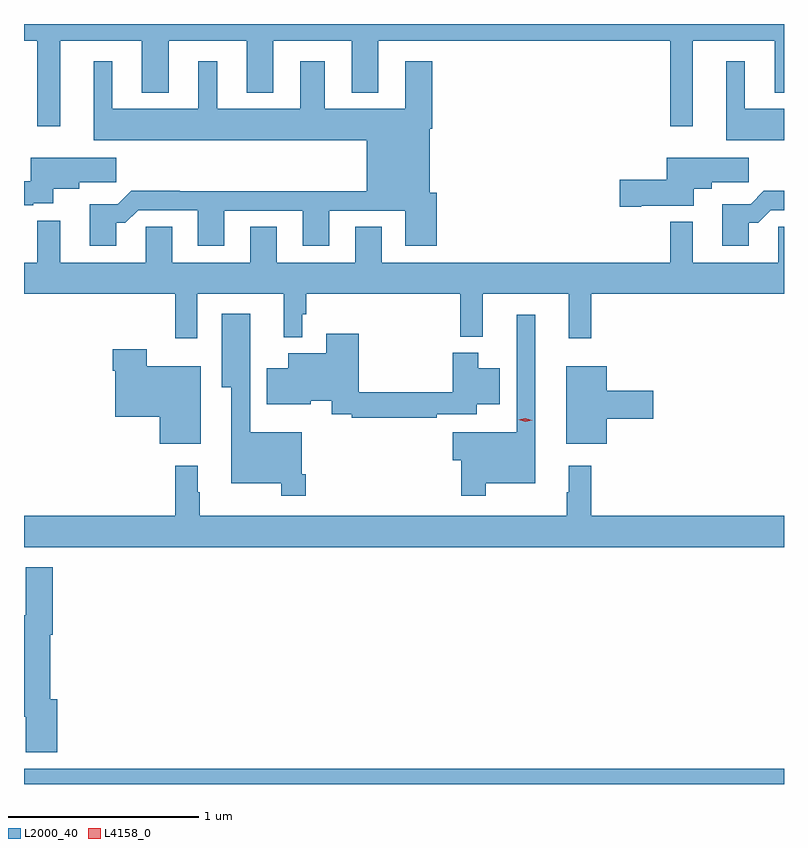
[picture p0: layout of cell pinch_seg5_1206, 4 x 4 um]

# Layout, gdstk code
import gdstk
lib = gdstk.Library(unit=1e-6, precision=1e-09)
def R(c, l, rs):  # rectangles x0, y0, x1, y1
    for r in rs: c.add(gdstk.rectangle(r[:2], r[2:], *l))
def P(c, l, *ps):  # polygons
    for p in ps: c.add(gdstk.Polygon(p, *l))
L2000_40 = (2000, 40)
L4158_0 = (4158, 0)

pinch_seg5_1206 = lib.new_cell('pinch_seg5_1206')
R(pinch_seg5_1206, L2000_40, [(471.446,875.493,475.446,875.572)])
P(pinch_seg5_1206, L2000_40, [(471.446,879.404),(471.516,879.404),(471.516,878.955),(471.637,878.955),(471.637,879.404),(472.067,879.404),(472.067,879.131),(472.207,879.131),(472.207,879.404),(472.619,879.404),(472.619,879.131),(472.759,879.131),(472.759,879.404),(473.171,879.404),(473.171,879.131),(473.311,879.131),(473.311,879.404),(474.846,879.404),(474.846,878.955),(474.967,878.955),(474.967,879.404),(475.397,879.404),(475.397,879.131),(475.446,879.131),(475.446,879.493),(471.446,879.493)],
  [(471.931,878.447),(471.98,878.447),(472.047,878.514),(472.361,878.514),(472.361,878.325),(472.501,878.325),(472.501,878.511),(472.913,878.511),(472.913,878.325),(473.053,878.325),(473.053,878.511),(473.453,878.511),(473.453,878.325),(473.618,878.325),(473.618,878.604),(473.581,878.604),(473.581,878.942),(473.594,878.942),(473.594,879.298),(473.453,879.298),(473.453,879.046),(473.029,879.046),(473.029,879.298),(472.901,879.298),(472.901,879.046),(472.462,879.046),(472.462,879.298),(472.364,879.298),(472.364,879.046),(471.91,879.046),(471.91,879.298),(471.812,879.298),(471.812,878.882),(473.249,878.882),(473.249,878.612),(472.265,878.612),(472.265,878.615),(472.01,878.615),(471.94,878.545),(471.791,878.545),(471.791,878.325),(471.931,878.325)],
  [(475.446,879.046),(475.24,879.046),(475.24,879.298),(475.142,879.298),(475.142,878.882),(475.446,878.882)],
  [(474.694,878.537),(474.97,878.537),(474.97,878.627),(475.066,878.627),(475.066,878.659),(475.261,878.659),(475.261,878.788),(474.83,878.788),(474.83,878.672),(474.582,878.672),(474.582,878.53),(474.694,878.53)],
  [(471.494,878.55),(471.599,878.55),(471.599,878.627),(471.736,878.627),(471.736,878.659),(471.931,878.659),(471.931,878.788),(471.481,878.788),(471.481,878.666),(471.446,878.666),(471.446,878.538),(471.494,878.538)],
  [(475.261,878.447),(475.31,878.447),(475.377,878.514),(475.446,878.514),(475.446,878.615),(475.34,878.615),(475.27,878.545),(475.121,878.545),(475.121,878.325),(475.261,878.325)],
  [(472.359,878.072),(472.814,878.072),(472.814,877.844),(472.911,877.844),(472.911,877.965),(472.931,877.965),(472.931,878.072),(473.743,878.072),(473.743,877.847),(473.861,877.847),(473.861,878.072),(474.314,878.072),(474.314,877.839),(474.431,877.839),(474.431,878.072),(475.446,878.072),(475.446,878.426),(475.416,878.426),(475.416,878.236),(474.967,878.236),(474.967,878.452),(474.846,878.452),(474.846,878.236),(473.329,878.236),(473.329,878.426),(473.189,878.426),(473.189,878.236),(472.777,878.236),(472.777,878.426),(472.637,878.426),(472.637,878.236),(472.225,878.236),(472.225,878.426),(472.086,878.426),(472.086,878.236),(471.637,878.236),(471.637,878.458),(471.516,878.458),(471.516,878.236),(471.446,878.236),(471.446,878.072),(472.243,878.072),(472.243,877.839),(472.359,877.839)],
  [(472.928,877.123),(472.908,877.123),(472.908,877.345),(472.636,877.345),(472.636,877.969),(472.487,877.969),(472.487,877.58),(472.538,877.58),(472.538,877.076),(472.8,877.076),(472.8,877.011),(472.928,877.011)],
  [(473.875,877.076),(474.136,877.076),(474.136,877.963),(474.039,877.963),(474.039,877.345),(473.702,877.345),(473.702,877.198),(473.746,877.198),(473.746,877.011),(473.875,877.011)],
  [(473.618,877.44),(473.83,877.44),(473.83,877.493),(473.95,877.493),(473.95,877.681),(473.836,877.681),(473.836,877.762),(473.702,877.762),(473.702,877.556),(473.207,877.556),(473.207,877.864),(473.036,877.864),(473.036,877.759),(472.838,877.759),(472.838,877.681),(472.724,877.681),(472.724,877.493),(472.956,877.493),(472.956,877.511),(473.066,877.511),(473.066,877.44),(473.17,877.44),(473.17,877.42),(473.618,877.42)],
  [(472.375,877.693),(472.092,877.693),(472.092,877.78),(471.914,877.78),(471.914,877.667),(471.926,877.667),(471.926,877.427),(472.16,877.427),(472.16,877.283),(472.375,877.283)],
  [(474.514,877.415),(474.757,877.415),(474.757,877.562),(474.514,877.562),(474.514,877.693),(474.299,877.693),(474.299,877.283),(474.514,877.283)],
  [(475.446,876.904),(474.431,876.904),(474.431,877.168),(474.314,877.168),(474.314,877.028),(474.303,877.028),(474.303,876.904),(472.372,876.904),(472.372,877.028),(472.36,877.028),(472.36,877.168),(472.243,877.168),(472.243,876.904),(471.446,876.904),(471.446,876.74),(475.446,876.74)],
  [(471.62,875.94),(471.583,875.94),(471.583,876.278),(471.596,876.278),(471.596,876.634),(471.455,876.634),(471.455,876.382),(471.446,876.382),(471.446,875.847),(471.455,875.847),(471.455,875.661),(471.62,875.661)])
P(pinch_seg5_1206, L4158_0, [(474.085,877.399),(474.05,877.41),(474.049,877.41),(474.05,877.411),(474.085,877.419),(474.12,877.408),(474.12,877.408),(474.12,877.407)])

lib.write_gds('pinch_seg5_1206.gds')
